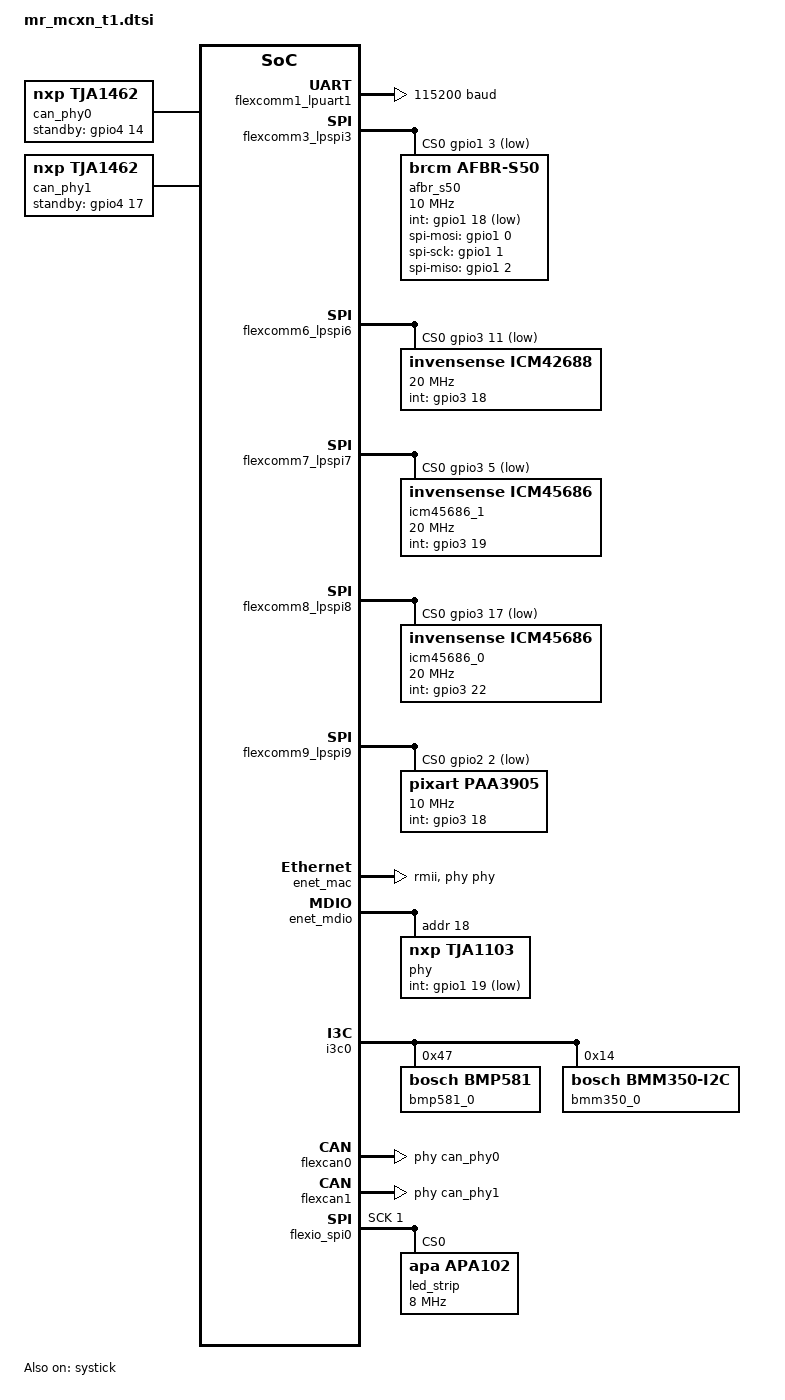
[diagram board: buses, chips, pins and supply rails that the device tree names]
/*
 * Copyright 2025 NXP
 *
 * SPDX-License-Identifier: Apache-2.0
 */

#include "mr_mcxn_t1-pinctrl.dtsi"
#include <zephyr/dt-bindings/i2c/i2c.h>
#include <zephyr/dt-bindings/input/input-event-codes.h>
#include <zephyr/dt-bindings/sensor/afbr_s50.h>
#include <zephyr/dt-bindings/sensor/icm42688.h>
#include <zephyr/dt-bindings/sensor/icm45686.h>
#include <zephyr/dt-bindings/sensor/bmp581.h>
#include <zephyr/dt-bindings/led/led.h>

/ {
	can_phy0: can-phy0 {
		compatible = "nxp,tja1462", "can-transceiver-gpio";
		standby-gpios = <&gpio4 14 GPIO_ACTIVE_HIGH>;
		max-bitrate = <5000000>;
		#phy-cells = <0>;
	};

	can_phy1: can-phy1 {
		compatible = "nxp,tja1462", "can-transceiver-gpio";
		standby-gpios = <&gpio4 17 GPIO_ACTIVE_HIGH>;
		max-bitrate = <5000000>;
		#phy-cells = <0>;
	};
};

&flexcomm1_lpuart1 {
	current-speed = <115200>;
	pinctrl-0 = <&pinmux_flexcomm1_lpuart>;
	pinctrl-names = "default";
};

/* Optical Flow Board */
&flexcomm3_lpspi3 {
	pinctrl-0 = <&pinmux_flexcomm3_lpspi>;
	pinctrl-1 = <&pinmux_flexcomm3_lpspi_gpio>;
	pinctrl-names = "default", "priv_start";
	pcs-sck-delay = <50>;
	sck-pcs-delay = <50>;
	transfer-delay = <50>;

	cs-gpios = <&gpio1 3 GPIO_ACTIVE_LOW>;

	afbr_s50: afbr_s50@0 {
		compatible = "brcm,afbr-s50";
		reg = <0>;
		spi-max-frequency = <10000000>;
		odr = <10>;
		dual-freq-mode = <AFBR_S50_DT_DFM_MODE_4X>;
		measurement-mode = <AFBR_S50_DT_MODE_SHORT_RANGE>;
		int-gpios = <&gpio1 18 (GPIO_ACTIVE_LOW | GPIO_PULL_UP)>;
		spi-mosi-gpios = <&gpio1 0 GPIO_ACTIVE_HIGH>;
		spi-sck-gpios = <&gpio1 1 GPIO_ACTIVE_HIGH>;
		spi-miso-gpios = <&gpio1 2 GPIO_ACTIVE_HIGH>;
	};

};

/* Optical Flow Board */
&flexcomm6_lpspi6 {
	status = "okay";
	pinctrl-0 = <&pinmux_flexcomm6_lpspi>;
	pinctrl-names = "default";
	pcs-sck-delay = <50>;
	sck-pcs-delay = <50>;
	transfer-delay = <50>;

	cs-gpios = <&gpio3 11 GPIO_ACTIVE_LOW>;

	icm42688: icm42688_optical_flow@0 {
	compatible = "invensense,icm42688", "invensense,icm4268x";
		reg = <0>;
		int-gpios = <&gpio3 18 GPIO_ACTIVE_HIGH>;
		spi-max-frequency = <20000000>;
		accel-pwr-mode = <ICM42688_DT_ACCEL_LN>;
		accel-odr = <ICM42688_DT_ACCEL_ODR_1000>;
		accel-fs = <ICM42688_DT_ACCEL_FS_16>;
		gyro-pwr-mode = <ICM42688_DT_GYRO_LN>;
		gyro-odr = <ICM42688_DT_GYRO_ODR_1000>;
		gyro-fs = <ICM42688_DT_GYRO_FS_2000>;
		axis-align-x = <SENSOR_AXIS_ALIGN_DT_Y>;
		axis-align-y = <SENSOR_AXIS_ALIGN_DT_X>;
		axis-align-z = <SENSOR_AXIS_ALIGN_DT_Z>;
		axis-align-x-sign = <SENSOR_AXIS_ALIGN_DT_NEG>;
		fifo-hires;
	};
};

/* Optical Flow Board */
&flexcomm7_lpspi7 {
	pinctrl-0 = <&pinmux_flexcomm7_lpspi>;
	pinctrl-names = "default";
	pcs-sck-delay = <50>;
	sck-pcs-delay = <50>;
	transfer-delay = <50>;

	cs-gpios = <&gpio3 5 GPIO_ACTIVE_LOW>;

	icm45686_1: icm45686_optical_flow@0 {
		compatible = "invensense,icm45686";
		reg = <0>;
		spi-max-frequency = <20000000>;
		int-gpios = <&gpio3 19 GPIO_ACTIVE_HIGH>;

		accel-pwr-mode = <ICM45686_DT_ACCEL_LN>;
		accel-fs = <ICM45686_DT_ACCEL_FS_2>;
		accel-odr = <ICM45686_DT_ACCEL_ODR_400>;
		accel-lpf = <ICM45686_DT_ACCEL_LPF_BW_1_32>;
		gyro-pwr-mode = <ICM45686_DT_GYRO_LN>;
		gyro-fs = <ICM45686_DT_GYRO_FS_4000>;
		gyro-odr = <ICM45686_DT_GYRO_ODR_400>;
		gyro-lpf = <ICM45686_DT_GYRO_LPF_BW_1_32>;

		fifo-watermark = <1>;
	};
};

&flexcomm8_lpspi8 {
	pinctrl-0 = <&pinmux_flexcomm8_lpspi>;
	pinctrl-names = "default";
	pcs-sck-delay = <50>;
	sck-pcs-delay = <50>;
	transfer-delay = <50>;

	cs-gpios = <&gpio3 17 GPIO_ACTIVE_LOW>;

	icm45686_0: icm45686_hub@0 {
		compatible = "invensense,icm45686";
		reg = <0>;
		spi-max-frequency = <20000000>;
		int-gpios = <&gpio3 22 GPIO_ACTIVE_HIGH>;
 
		accel-pwr-mode = <ICM45686_DT_ACCEL_LN>;
		accel-fs = <ICM45686_DT_ACCEL_FS_2>;
		accel-odr = <ICM45686_DT_ACCEL_ODR_400>;
		accel-lpf = <ICM45686_DT_ACCEL_LPF_BW_1_32>;
		gyro-pwr-mode = <ICM45686_DT_GYRO_LN>;
		gyro-fs = <ICM45686_DT_GYRO_FS_4000>;
		gyro-odr = <ICM45686_DT_GYRO_ODR_400>;
		gyro-lpf = <ICM45686_DT_GYRO_LPF_BW_1_32>;
 
		fifo-watermark = <1>;
	};
};

/* Optical Flow Board */
&flexcomm9_lpspi9 {
	pinctrl-0 = <&pinmux_flexcomm9_lpspi>;
	pinctrl-names = "default";
	pcs-sck-delay = <50>;
	sck-pcs-delay = <50>;
	transfer-delay = <50>;

	cs-gpios = <&gpio2 2 GPIO_ACTIVE_LOW>;

	paa3905: paa3905@0 {
		compatible = "pixart,paa3905";
		reg = <0>;
		spi-max-frequency = <10000000>;
		int-gpios = <&gpio3 18 GPIO_ACTIVE_HIGH>;
		/*led-control;*/
	};

};

/*
 * MCXN947 board uses OS timer as the kernel timer
 * In case we need to switch to SYSTICK timer, then
 * replace &os_timer with &systick
 */
&os_timer {
	status = "disabled";
};

&systick {
	status = "okay";
};

&sram {
	sramg: memory@20050000 {
		compatible = "mmio-sram";
		reg = <0x20050000 DT_SIZE_K(64)>;
	};
	sramh: memory@20060000 {
		compatible = "mmio-sram";
		reg = <0x20060000 DT_SIZE_K(32)>;
	};
};

&flash {
	partitions {
		compatible = "fixed-partitions";
		#address-cells = <1>;
		#size-cells = <1>;

		/*
		 * Partition sizes must be aligned
		 * to the flash memory sector size of 8KB.
		 */
		boot_partition: partition@0 {
			label = "mcuboot";
			reg = <0x00000000 DT_SIZE_K(80)>;
		};
		slot0_partition: partition@14000 {
			label = "image-0";
			reg = <0x00014000 DT_SIZE_K(984)>;
		};
		slot1_partition: partition@10A000 {
			label = "image-1";
			reg = <0x0010A000 DT_SIZE_K(984)>;
		};
	};
};

&enet {
	pinctrl-0 = <&pinmux_enet_qos>;
	pinctrl-names = "default";
};

&enet_mac {
	phy-connection-type = "rmii";
	zephyr,random-mac-address;
	phy-handle = <&phy>;
};

&enet_mdio {
	phy: ethernet-phy@12 {
		compatible = "nxp,tja1103";
		status = "okay";
		reg = <0x12>;
		int-gpios = <&gpio1 19 GPIO_ACTIVE_LOW>;
		master-slave = "slave";
	};
};

&i3c0 {
	pinctrl-0 = <&pinmux_i3c0>;
	pinctrl-names = "default";
	i2c-scl-hz = <400000>;

	bmp581_0: bmp581_hub@470000000000000050  {
		compatible = "bosch,bmp581";
		reg = <0x47 0x0 0x50>;
	};

	bmm350_0: bmm350_hub@140000000000000050  {
		compatible = "bosch,bmm350-i2c";
		reg = <0x14 0x0 0x50>;
	};
};

&flexcan0 {
	pinctrl-0 = <&pinmux_flexcan0>;
	pinctrl-names = "default";
	phys = <&can_phy0>;
};

&flexcan1 {
	pinctrl-0 = <&pinmux_flexcan1>;
	pinctrl-names = "default";
	phys = <&can_phy1>;
};

&flexio0 {
	flexio_spi0: flexio_spi0 {
		compatible = "nxp,flexio-spi";
		status = "okay";
		#address-cells = <1>;
		#size-cells = <0>;
		sdo-pin = <0>;
		sdi-pin = <0>;
		sck-pin = <1>;
		pinctrl-0 = <&pinmux_flexio_spi0>;
		pinctrl-names = "default";
		
		led_strip: apa102@0 {
			compatible = "apa,apa102";
			reg = <0>;
			spi-max-frequency = <8000000>;
			chain-length = <1>;
			color-mapping = <LED_COLOR_ID_BLUE
				 	LED_COLOR_ID_GREEN
				 	LED_COLOR_ID_RED>;
		};
	};

};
